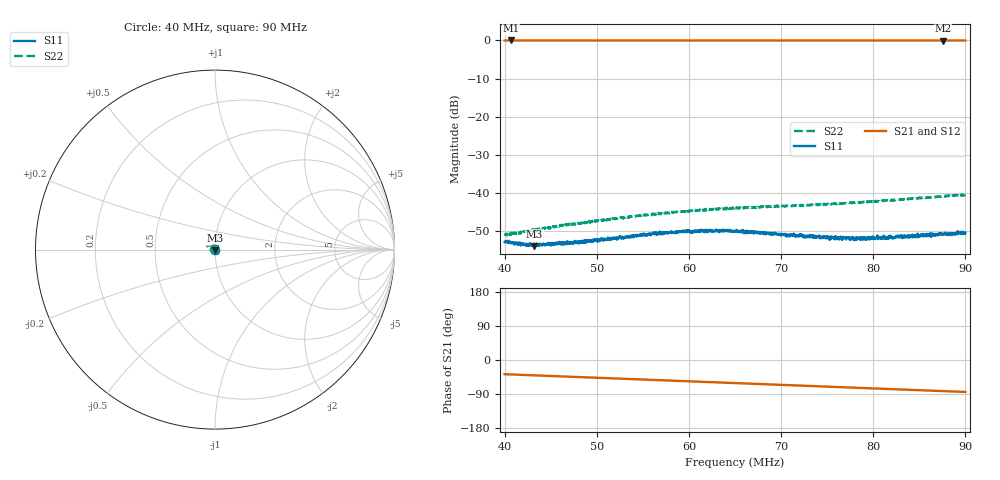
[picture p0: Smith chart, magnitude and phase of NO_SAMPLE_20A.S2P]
!Agilent Technologies,E5061B,MY49102235,A.02.00
!Date: Mon Jul 03 10:46:10 2023
!Data & Calibration Information:
!Freq	S11:SOLT2(ON)	S21:SOLT2(ON)	S12:SOLT2(ON)	S22:SOLT2(ON)
# Hz S RI R 50
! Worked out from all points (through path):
!   1600 points, 40 MHz to 90 MHz, reference 50 ohm
!   highest |S21| = 0.00 dB at 40.69 MHz (marker M1); lowest = 0.0 dB at 87.56 MHz (marker M2)
!   group delay of S21, straight-line fit = 2.6 ns
!   lowest |S11| = -53.9 dB at 43.22 MHz (marker M3), VSWR 1.00, Z = 49.9 - j0.194 ohm
!   |S11| at or under -10 dB: start of sweep to end of sweep
!   |S22| runs from -51.0 to -40.4 dB; largest |S21 - S12| = 0.0012
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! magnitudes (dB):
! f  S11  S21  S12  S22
! 40 MHz  -52.8  0.0  0.0  -50.7
! 40.69 MHz  -53.0  0.0  0.0  -50.7
! 42.35 MHz  -53.2  0.0  0.0  -49.7
! 43.22 MHz  -53.9  0.0  0.0  -49.5
! 48.35 MHz  -52.6  0.0  0.0  -47.8
! 56.67 MHz  -50.4  0.0  0.0  -45.1
! 59.92 MHz  -49.7  0.0  0.0  -44.9
! 60.36 MHz  -50.1  0.0  0.0  -44.6
! 62.05 MHz  -49.8  0.0  0.0  -44.3
! 64.23 MHz  -49.7  0.0  0.0  -43.9
! 65.02 MHz  -50.1  0.0  0.0  -44.0
! 68.46 MHz  -50.3  0.0  0.0  -43.6
! 70.68 MHz  -51.3  0.0  0.0  -43.3
! 73.36 MHz  -51.1  0.0  0.0  -43.0
! 75.46 MHz  -51.3  0.0  0.0  -42.8
! 77.71 MHz  -51.7  0.0  0.0  -42.6
! 81.68 MHz  -51.4  0.0  0.0  -41.9
! 82.21 MHz  -51.8  0.0  0.0  -41.9
! 82.75 MHz  -51.5  0.0  0.0  -41.7
! 84.53 MHz  -51.3  0.0  0.0  -41.4
! 87.56 MHz  -50.7  0.0  0.0  -40.8
! 90 MHz  -50.3  0.0  0.0  -40.4
